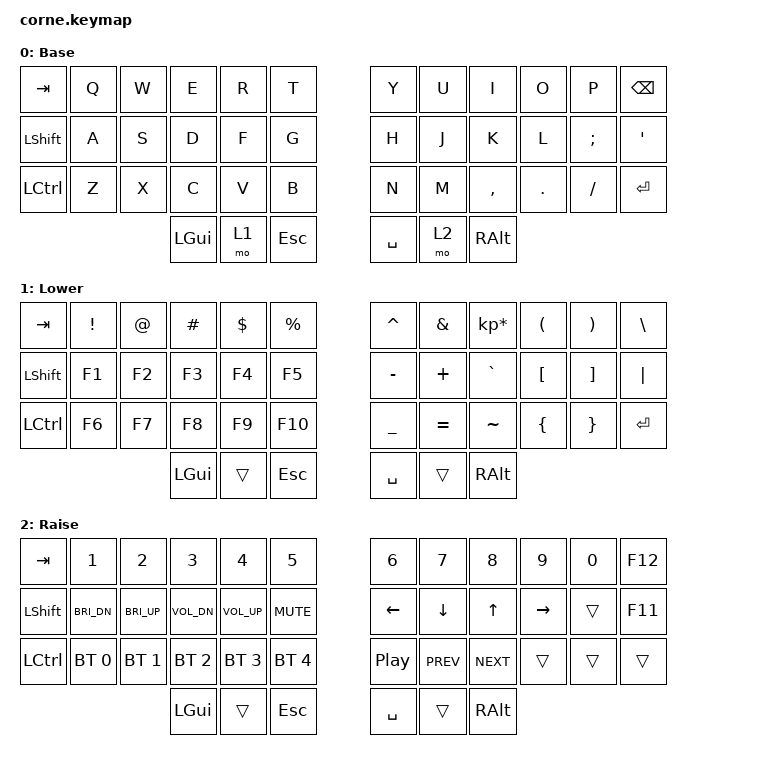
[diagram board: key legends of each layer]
/*
 * Copyright (c) 2020 The ZMK Contributors
 *
 * SPDX-License-Identifier: MIT
 */

#include <behaviors.dtsi>
#include <dt-bindings/zmk/keys.h>
#include <dt-bindings/zmk/bt.h>

/ {
    keymap {
        compatible = "zmk,keymap";

        default_layer {
        // --------------------------------------------------------------------------------
        // | TAB  |  Q  |  W  |  E  |  R  |  T  |   |  Y  |  U   |  I  |  O  |  P  | BKSP |
        // | SHFT |  A  |  S  |  D  |  F  |  G  |   |  H  |  J   |  K  |  L  |  ;  |  '   |
        // | CTRL |  Z  |  X  |  C  |  V  |  B  |   |  N  |  M   |  ,  |  .  |  /  | ENT  |
        //                    | GUI | LWR | ESC |   | SPC | RSE  | ALT |
            label = "Base";
            bindings = <
                &kp TAB   &kp Q &kp W &kp E    &kp R &kp T    &kp Y     &kp U &kp I     &kp O   &kp P    &kp BSPC
                &kp LSHFT &kp A &kp S &kp D    &kp F &kp G    &kp H     &kp J &kp K     &kp L   &kp SEMI &kp SQT
                &kp LCTRL &kp Z &kp X &kp C    &kp V &kp B    &kp N     &kp M &kp COMMA &kp DOT &kp FSLH &kp RET
                                      &kp LGUI &mo 1 &kp ESC  &kp SPACE &mo 2 &kp RALT
            >;
        };

        lower_layer {
        // ---------------------------------------------------------------------------------
        // | TAB  |  !  |  @  |  #  |  $  |  %   |   |  ^  |  &  |  *  |  (  |  )  |   \   | 
        // | SHFT |  F1 |  F2 |  F3 |  F4 |  F5  |   |  -  |  +  |  `  |  [  |  ]  |  "|"  |
        // | CTRL |  F6 |  F7 |  F8 |  F9 | F10 |   |  _  |  =  |  ~  |  {  |  }  |  ENT  |
        //                    | GUI |     |  ESC |   | SPC |     | ALT |
            label = "Lower";
            bindings = <
                &kp TAB   &kp EXCL &kp AT &kp HASH &kp DLLR &kp PRCNT   &kp CARET &kp AMPS  &kp KP_MULTIPLY &kp LPAR &kp RPAR &kp BSLH
                &kp LSHFT &kp F1   &kp F2 &kp F3   &kp F4   &kp F5      &kp MINUS &kp PLUS  &kp GRAVE       &kp LBKT &kp RBKT &kp PIPE
                &kp LCTRL &kp F6   &kp F7 &kp F8   &kp F9   &kp F10     &kp UNDER &kp EQUAL &kp TILDE       &kp LBRC &kp RBRC &kp RET
                                          &kp LGUI &trans   &kp ESC     &kp SPACE &trans    &kp RALT
            >;
        };

        raise_layer {
        // ------------------------------------------------------------------------------------------
        // | TAB  | 1   | 2   | 3     |  4    |  5    |   |  6     |  7   |  8   |  9  |  0  | F12  |
        // | SHFT | BR- | BR+ | Vol - | Vol + | MUTE  |   | LFT    | DWN  |  UP  | RGT |     | F11  |
        // | CTRL | BT1 | BT2 | BT3   | BT4 | BT5   |   | Pl/Ps  | Prev | Next |     |     |      |
        //                    | GUI   |       | ESC   |   | BT_CLR |      | ALT  |
            label = "Raise";
            bindings = <
                &kp TAB    &kp N1       &kp N2       &kp N3       &kp N4       &kp N5         &kp N6     &kp N7     &kp N8     &kp N9    &kp N0  &kp F12
                &kp LSHFT  &kp C_BRI_DN &kp C_BRI_UP &kp C_VOL_DN &kp C_VOL_UP &kp K_MUTE     &kp LEFT   &kp DOWN   &kp UP     &kp RIGHT &trans  &kp F11
                &kp LCTRL  &bt BT_SEL 0 &bt BT_SEL 1 &bt BT_SEL 2 &bt BT_SEL 3 &bt BT_SEL 4   &kp C_PP   &kp C_PREV &kp C_NEXT &trans    &trans  &trans 
                    	                &kp LGUI     &trans       &kp ESC      &kp SPACE      &trans     &kp RALT
            >;
        };
    };
};
